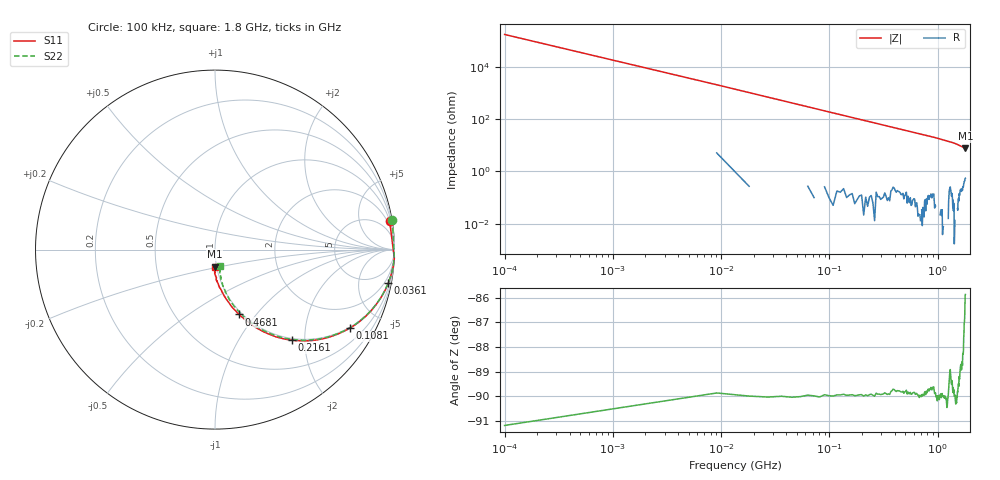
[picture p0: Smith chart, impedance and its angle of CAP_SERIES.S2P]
!Agilent Technologies,E5071C,MY46101151,A.11.02
!Date: Sun Sep 24 17:01:00 2017
!Data & Calibration Information:
!Freq	S11:SOLT2(ON)	S21:SOLT2(ON)	S12:SOLT2(ON)	S22:SOLT2(ON)
!PortZ  Port1:50+j0  Port2:50+j0
!Above PortZ is port z conversion or system Z0 setting when saving the data.
!When reading, reference impedance value at option line is always used.
# Hz S dB R 50
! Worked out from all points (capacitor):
!   201 points, 100 kHz to 1.8 GHz, reference 50 ohm
!   read as one part in series: C = 8.42 pF near 9.1 MHz
!   lowest |Z| = 7.65 ohm at 1.8 GHz (marker M1)
!   S11 on the Smith chart (normalised r, x): 100 kHz: 1, +12; 36.1 MHz: 1, -10; 108.1 MHz: 0.96, -3.44; 216.1 MHz: 0.97, -1.73; 468.1 MHz: 0.97, -0.82; 1.8 GHz: 0.98, -0.19
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100000  -0.12 9.4  -64.95 100.6  -66.40 97.5  0.01 9.6
9099500  0.00 -2.8  -26.34 87.1  -26.36 87.2  0.00 -2.8
1.8099e7  -0.03 -5.6  -20.40 84.4  -20.41 84.5  -0.03 -5.5
2.70985e7  -0.08 -8.3  -16.96 81.7  -16.97 81.7  -0.08 -8.2
3.6098e7  -0.14 -11.0  -14.55 79.0  -14.55 79.1  -0.15 -10.9
4.50975e7  -0.23 -13.7  -12.70 76.4  -12.70 76.4  -0.24 -13.6
6.30965e7  -0.46 -18.8  -10.02 71.2  -10.02 71.3  -0.45 -18.6
8.10955e7  -0.73 -23.7  -8.10 66.5  -8.12 66.5  -0.73 -23.4
1.08094e8  -1.22 -30.3  -6.11 59.8  -6.12 59.9  -1.22 -30.0
1.530915e8  -2.18 -39.7  -4.04 50.4  -4.07 50.5  -2.17 -39.3
2.16088e8  -3.60 -49.7  -2.51 40.5  -2.52 40.6  -3.57 -49.1
2.610855e8  -4.56 -55.2  -1.87 35.2  -1.88 35.3  -4.55 -54.4
3.06083e8  -5.48 -59.4  -1.46 30.9  -1.45 31.0  -5.48 -58.6
3.690795e8  -6.69 -64.1  -1.06 26.2  -1.07 26.2  -6.67 -63.0
4.68074e8  -8.28 -69.6  -0.71 21.0  -0.72 21.1  -8.25 -68.0
6.030665e8  -10.06 -74.7  -0.46 16.3  -0.46 16.3  -10.02 -72.3
9.0005e8  -13.05 -81.9  -0.23 10.4  -0.23 10.4  -12.96 -76.5
1.206033e9  -15.38 -87.2  -0.12 7.1  -0.12 7.1  -15.21 -78.7
1.503016e9  -17.67 -90.3  -0.06 4.9  -0.06 4.8  -17.40 -78.4
1.584012e9  -18.27 -90.8  -0.05 4.4  -0.05 4.3  -18.07 -76.9
1.746003e9  -20.22 -90.6  -0.05 3.4  -0.05 3.4  -19.72 -75.5
1.8e9  -20.50 -90.3  -0.06 3.2  -0.06 3.2  -20.18 -73.0
